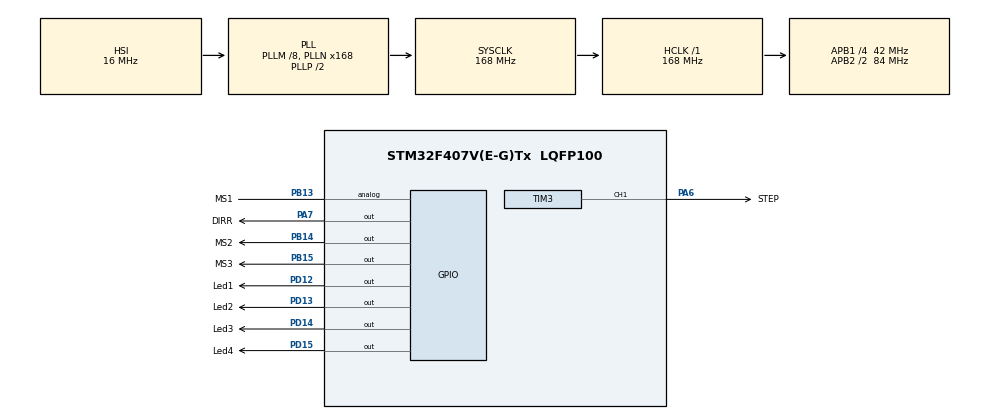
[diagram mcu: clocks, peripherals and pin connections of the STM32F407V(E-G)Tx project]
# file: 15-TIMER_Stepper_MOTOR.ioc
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Mcu.Family=STM32F4
Mcu.Name=STM32F407V(E-G)Tx
Mcu.Package=LQFP100
NVIC.PriorityGroup=NVIC_PRIORITYGROUP_4
NVIC.TIM3_IRQn=true\:0\:0\:false\:false\:true\:true\:true
PA6.GPIO_Label=STEP
PA6.Signal=S_TIM3_CH1
PA7.GPIO_Label=DIRR
PA7.Signal=GPIO_Output
PB13.GPIO_Label=MS1
PB13.Signal=GPIO_Analog
PB14.GPIO_Label=MS2
PB14.Signal=GPIO_Output
PB15.GPIO_Label=MS3
PB15.Signal=GPIO_Output
PD12.GPIO_Label=Led1
PD12.Signal=GPIO_Output
PD13.GPIO_Label=Led2
PD13.Signal=GPIO_Output
PD14.GPIO_Label=Led3
PD14.Signal=GPIO_Output
PD15.GPIO_Label=Led4
PD15.Signal=GPIO_Output
PH0-OSC_IN.Mode=HSE-External-Oscillator
PH0-OSC_IN.Signal=RCC_OSC_IN
PH1-OSC_OUT.Mode=HSE-External-Oscillator
PH1-OSC_OUT.Signal=RCC_OSC_OUT
ProjectManager.HeapSize=0x200
ProjectManager.StackSize=0x400
ProjectManager.TargetToolchain=MDK-ARM V5.27
RCC.48MHZClocksFreq_Value=84000000
RCC.AHBFreq_Value=168000000
RCC.APB1CLKDivider=RCC_HCLK_DIV4
RCC.APB1Freq_Value=42000000
RCC.APB1TimFreq_Value=84000000
RCC.APB2CLKDivider=RCC_HCLK_DIV2
RCC.APB2Freq_Value=84000000
RCC.APB2TimFreq_Value=168000000
RCC.CortexFreq_Value=168000000
RCC.HCLKFreq_Value=168000000
RCC.HSE_VALUE=8000000
RCC.HSI_VALUE=16000000
RCC.PLLM=8
RCC.PLLN=168
RCC.SYSCLKFreq_VALUE=168000000
RCC.SYSCLKSource=RCC_SYSCLKSOURCE_PLLCLK
RCC.VCOOutputFreq_Value=336000000
SH.S_TIM3_CH1.0=TIM3_CH1,PWM Generation1 CH1
TIM3.Channel-PWM\ Generation1\ CH1=TIM_CHANNEL_1
TIM3.Period=65535
TIM3.Prescaler=1000
VP_TIM3_VS_ClockSourceINT.Mode=Internal
board=custom

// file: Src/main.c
/* USER CODE BEGIN Header */
/**
  ******************************************************************************
  * @file           : main.c
  * @brief          : Main program body
  ******************************************************************************
  * @attention
  *
  * <h2><center>&copy; Copyright (c) 2020 STMicroelectronics.
  * All rights reserved.</center></h2>
  *
  * This software component is licensed by ST under BSD 3-Clause license,
  * the "License"; You may not use this file except in compliance with the
  * License. You may obtain a copy of the License at:
  *                        opensource.org/licenses/BSD-3-Clause
  *
  ******************************************************************************
  */
/* USER CODE END Header */

#include "main.h"

/* USER CODE BEGIN Includes */
#include "motor_v1.h"
/* USER CODE END Includes */

/* USER CODE BEGIN PD */
uint8_t count=0;
int32_t CH1_DC = 0;
uint16_t load;
uint16_t adcval;
/* USER CODE END PD */

TIM_HandleTypeDef htim3;

void SystemClock_Config(void);
static void MX_GPIO_Init(void);
static void MX_TIM3_Init(void);

int main(void)
{

  /* MCU Configuration--------------------------------------------------------*/

  /* Reset of all peripherals, Initializes the Flash interface and the Systick. */
  HAL_Init();

  /* Configure the system clock */
  SystemClock_Config();

  /* Initialize all configured peripherals */
  MX_GPIO_Init();
  MX_TIM3_Init();
  /* USER CODE BEGIN 2 */

	MOTOR_Begin8BIT(MS1_GPIO_Port, MS1_Pin, MS2_Pin, MS3_Pin, STEP_GPIO_Port, STEP_Pin, DIRR_Pin);
	HAL_TIM_PWM_Start(&htim3, TIM_CHANNEL_1);
	MOTOR_16_Step();
  /* USER CODE END 2 */

  /* Infinite loop */
  while (1)
  {

    /* USER CODE BEGIN 3 */
				while(CH1_DC < 65535)
    	{
    	    TIM3->CCR1 = CH1_DC; // = CH1_DC
    	    CH1_DC+=50;				 // += 70;
    	    HAL_Delay(1);
    	}
    	while(CH1_DC > 0)
    	{
    	    TIM3->CCR1 = CH1_DC; //TIM2->CCR1 = CH1_DC;
    	    CH1_DC-=50;
    	    HAL_Delay(1);
    	}
			HAL_Delay(500);

			TIM3->CCR1 = adcval*16;

		//MOTOR_GO(200);
  }
  /* USER CODE END 3 */
}

void SystemClock_Config(void)
{
  RCC_OscInitTypeDef RCC_OscInitStruct = {0};
  RCC_ClkInitTypeDef RCC_ClkInitStruct = {0};

  /** Configure the main internal regulator output voltage
  */
  __HAL_RCC_PWR_CLK_ENABLE();
  __HAL_PWR_VOLTAGESCALING_CONFIG(PWR_REGULATOR_VOLTAGE_SCALE1);
  /** Initializes the CPU, AHB and APB busses clocks
  */
  RCC_OscInitStruct.OscillatorType = RCC_OSCILLATORTYPE_HSI;
  RCC_OscInitStruct.HSIState = RCC_HSI_ON;
  RCC_OscInitStruct.HSICalibrationValue = RCC_HSICALIBRATION_DEFAULT;
  RCC_OscInitStruct.PLL.PLLState = RCC_PLL_ON;
  RCC_OscInitStruct.PLL.PLLSource = RCC_PLLSOURCE_HSI;
  RCC_OscInitStruct.PLL.PLLM = 8;
  RCC_OscInitStruct.PLL.PLLN = 168;
  RCC_OscInitStruct.PLL.PLLP = RCC_PLLP_DIV2;
  RCC_OscInitStruct.PLL.PLLQ = 4;
  if (HAL_RCC_OscConfig(&RCC_OscInitStruct) != HAL_OK)
  {
    Error_Handler();
  }
  /** Initializes the CPU, AHB and APB busses clocks
  */
  RCC_ClkInitStruct.ClockType = RCC_CLOCKTYPE_HCLK|RCC_CLOCKTYPE_SYSCLK
                              |RCC_CLOCKTYPE_PCLK1|RCC_CLOCKTYPE_PCLK2;
  RCC_ClkInitStruct.SYSCLKSource = RCC_SYSCLKSOURCE_PLLCLK;
  RCC_ClkInitStruct.AHBCLKDivider = RCC_SYSCLK_DIV1;
  RCC_ClkInitStruct.APB1CLKDivider = RCC_HCLK_DIV4;
  RCC_ClkInitStruct.APB2CLKDivider = RCC_HCLK_DIV2;

  if (HAL_RCC_ClockConfig(&RCC_ClkInitStruct, FLASH_LATENCY_5) != HAL_OK)
  {
    Error_Handler();
  }
}

static void MX_TIM3_Init(void)
{

  TIM_ClockConfigTypeDef sClockSourceConfig = {0};
  TIM_MasterConfigTypeDef sMasterConfig = {0};
  TIM_OC_InitTypeDef sConfigOC = {0};

  htim3.Instance = TIM3;
  htim3.Init.Prescaler = 1000;
  htim3.Init.CounterMode = TIM_COUNTERMODE_UP;
  htim3.Init.Period = 65535;
  htim3.Init.ClockDivision = TIM_CLOCKDIVISION_DIV1;
  htim3.Init.AutoReloadPreload = TIM_AUTORELOAD_PRELOAD_DISABLE;
  if (HAL_TIM_Base_Init(&htim3) != HAL_OK)
  {
    Error_Handler();
  }
  sClockSourceConfig.ClockSource = TIM_CLOCKSOURCE_INTERNAL;
  if (HAL_TIM_ConfigClockSource(&htim3, &sClockSourceConfig) != HAL_OK)
  {
    Error_Handler();
  }
  if (HAL_TIM_PWM_Init(&htim3) != HAL_OK)
  {
    Error_Handler();
  }
  sMasterConfig.MasterOutputTrigger = TIM_TRGO_RESET;
  sMasterConfig.MasterSlaveMode = TIM_MASTERSLAVEMODE_DISABLE;
  if (HAL_TIMEx_MasterConfigSynchronization(&htim3, &sMasterConfig) != HAL_OK)
  {
    Error_Handler();
  }
  sConfigOC.OCMode = TIM_OCMODE_PWM1;
  sConfigOC.Pulse = 0;
  sConfigOC.OCPolarity = TIM_OCPOLARITY_HIGH;
  sConfigOC.OCFastMode = TIM_OCFAST_DISABLE;
  if (HAL_TIM_PWM_ConfigChannel(&htim3, &sConfigOC, TIM_CHANNEL_1) != HAL_OK)
  {
    Error_Handler();
  }
  HAL_TIM_MspPostInit(&htim3);

}

static void MX_GPIO_Init(void)
{
  GPIO_InitTypeDef GPIO_InitStruct = {0};

  /* GPIO Ports Clock Enable */
  __HAL_RCC_GPIOH_CLK_ENABLE();
  __HAL_RCC_GPIOA_CLK_ENABLE();
  __HAL_RCC_GPIOB_CLK_ENABLE();
  __HAL_RCC_GPIOD_CLK_ENABLE();

  /*Configure GPIO pin Output Level */
  HAL_GPIO_WritePin(DIRR_GPIO_Port, DIRR_Pin, GPIO_PIN_RESET);

  /*Configure GPIO pin Output Level */
  HAL_GPIO_WritePin(GPIOB, MS2_Pin|MS3_Pin, GPIO_PIN_RESET);

  /*Configure GPIO pin Output Level */
  HAL_GPIO_WritePin(GPIOD, Led1_Pin|Led2_Pin|Led3_Pin|Led4_Pin, GPIO_PIN_RESET);

  /*Configure GPIO pin : DIRR_Pin */
  GPIO_InitStruct.Pin = DIRR_Pin;
  GPIO_InitStruct.Mode = GPIO_MODE_OUTPUT_PP;
  GPIO_InitStruct.Pull = GPIO_NOPULL;
  GPIO_InitStruct.Speed = GPIO_SPEED_FREQ_LOW;
  HAL_GPIO_Init(DIRR_GPIO_Port, &GPIO_InitStruct);

  /*Configure GPIO pin : MS1_Pin */
  GPIO_InitStruct.Pin = MS1_Pin;
  GPIO_InitStruct.Mode = GPIO_MODE_ANALOG;
  GPIO_InitStruct.Pull = GPIO_NOPULL;
  HAL_GPIO_Init(MS1_GPIO_Port, &GPIO_InitStruct);

  /*Configure GPIO pins : MS2_Pin MS3_Pin */
  GPIO_InitStruct.Pin = MS2_Pin|MS3_Pin;
  GPIO_InitStruct.Mode = GPIO_MODE_OUTPUT_PP;
  GPIO_InitStruct.Pull = GPIO_NOPULL;
  GPIO_InitStruct.Speed = GPIO_SPEED_FREQ_LOW;
  HAL_GPIO_Init(GPIOB, &GPIO_InitStruct);

  /*Configure GPIO pins : Led1_Pin Led2_Pin Led3_Pin Led4_Pin */
  GPIO_InitStruct.Pin = Led1_Pin|Led2_Pin|Led3_Pin|Led4_Pin;
  GPIO_InitStruct.Mode = GPIO_MODE_OUTPUT_PP;
  GPIO_InitStruct.Pull = GPIO_NOPULL;
  GPIO_InitStruct.Speed = GPIO_SPEED_FREQ_LOW;
  HAL_GPIO_Init(GPIOD, &GPIO_InitStruct);

}

/* USER CODE BEGIN 4 */
void HAL_TIM_PeriodElapsedCallback(TIM_HandleTypeDef *htim)
{
  /* Prevent unused argument(s) compilation warning */
  UNUSED(htim);

  /* NOTE : This function should not be modified, when the callback is needed,
            the HAL_TIM_PeriodElapsedCallback could be implemented in the user file
   */
	if(htim->Instance == TIM3)
	{
		count++;
		HAL_GPIO_TogglePin(GPIOD, Led1_Pin);
		if(count == 100){
		MOTOR_GO(1);
		HAL_GPIO_TogglePin(GPIOD, Led2_Pin);
		count=0;
		}
	}

}
/* USER CODE END 4 */

void Error_Handler(void)
{
}

/************************ (C) COPYRIGHT STMicroelectronics *****END OF FILE****/
